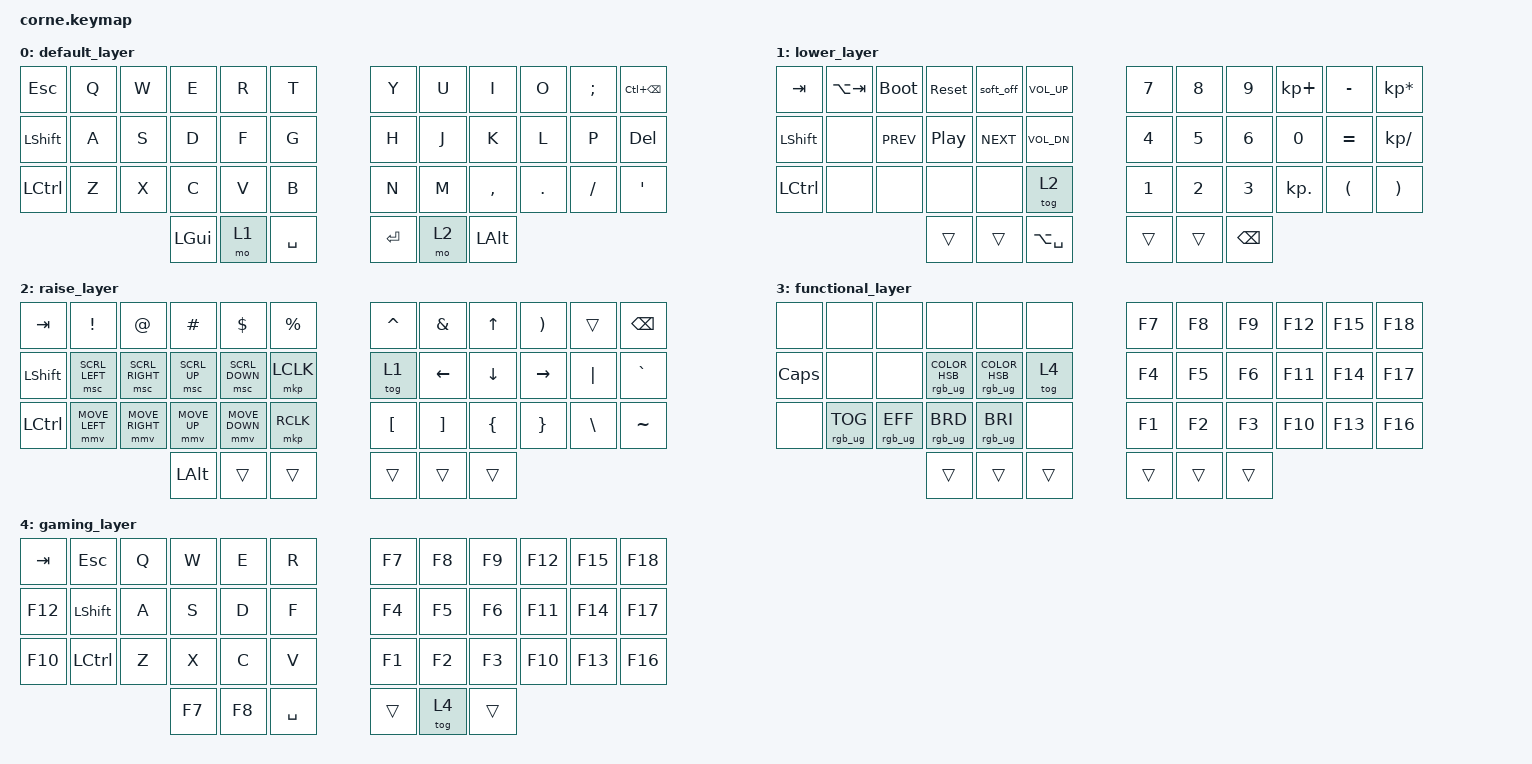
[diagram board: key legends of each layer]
#define ZMK_POINTING_DEFAULT_MOVE_VAL 1800  // default: 600
#define ZMK_POINTING_DEFAULT_SCRL_VAL 30   // default: 10

#include <dt-bindings/zmk/pointing.h>
#include <behaviors.dtsi>
#include <dt-bindings/zmk/keys.h>
#include <dt-bindings/zmk/bt.h>
#include <dt-bindings/zmk/outputs.h>
#include <dt-bindings/zmk/ext_power.h>
#include <dt-bindings/led/led.h>
#include <dt-bindings/zmk/backlight.h>
#include <dt-bindings/zmk/rgb.h>
#include <dt-bindings/zmk/reset.h>



&led_strip {
  //chain-length = <0>;
  chain-length = <27>;
  // 21 backlight + 6 glowlight
};

/ {
    conditional_layers {
        compatible = "zmk,conditional-layers";
        tri_layer {
            if-layers = <1 2>;
            then-layer = <3>;
        };
    };

    keymap {
        compatible = "zmk,keymap";



        default_layer {
            bindings = <
   &kp ESC  &kp Q &kp W &kp E &kp R &kp T   &kp Y            &kp U   &kp I    &kp O    &kp SEMI &kp LC(BSPC)
   &kp LSHFT &kp A &kp S &kp D &kp F &kp G  &kp H                 &kp J   &kp K    &kp L    &kp P      &kp DEL
   &kp LCTRL &kp Z &kp X &kp C &kp V &kp B  &kp N               &kp M   &kp COMMA &kp DOT  &kp FSLH &kp SQT
                   &kp LGUI &mo 1 &kp SPACE                   &kp RET &mo 2 &kp LEFT_ALT

            >;
        };

        lower_layer {
            bindings = <
   &kp TAB &kp LA(TAB) &bootloader &sys_reset &soft_off &kp C_VOL_UP           &kp N7 &kp N8 &kp N9 &kp KP_PLUS &kp MINUS &kp KP_MULTIPLY
   &kp LSHFT &none &kp C_PREV &kp C_PP &kp C_NEXT &kp C_VOL_DN           &kp N4 &kp N5 &kp N6 &kp N0 &kp EQUAL &kp KP_DIVIDE
   &kp LCTRL &none &none &none &none  &tog 2           &kp N1 &kp N2 &kp N3 &kp KP_DOT &kp LPAR &kp RPAR
                      &trans &trans &kp LA(SPACE)                            &trans &trans &kp BSPC

            >;
        };

        raise_layer {
            bindings = < 
   &kp TAB    &kp EXCL        &kp AT          &kp HASH  &kp DLLR               &kp PRCNT                &kp CARET        &kp AMPS          &kp UP    &kp RPAR   &trans   &kp BSPC
   &kp LSHIFT &msc SCRL_LEFT  &msc SCRL_RIGHT    &msc SCRL_UP      &msc SCRL_DOWN   &mkp LCLK                 &tog 1           &kp LEFT          &kp DOWN  &kp RIGHT  &kp PIPE &kp GRAVE
   &kp LCTRL  &mmv MOVE_LEFT  &mmv MOVE_RIGHT    &mmv MOVE_UP      &mmv MOVE_DOWN  &mkp RCLK                &kp LEFT_BRACKET &kp RIGHT_BRACKET &kp LBRC  &kp RBRC   &kp BSLH &kp TILDE
                                              &kp LEFT_ALT    &trans           &trans                   &trans           &trans            &trans
   
            >;
        };
        functional_layer {
            bindings = <
   &none &none &none &none &none &none                                                                                 &kp F7 &kp F8 &kp F9 &kp F12 &kp F15 &kp F18
   &kp CAPS &none &none  &rgb_ug RGB_COLOR_HSB(0,0,100) &rgb_ug RGB_COLOR_HSB(359,100,100) &tog 4                      &kp F4 &kp F5 &kp F6 &kp F11 &kp F14 &kp F17
   &none &rgb_ug RGB_TOG &rgb_ug RGB_EFF &rgb_ug RGB_BRD &rgb_ug RGB_BRI  &none                                        &kp F1 &kp F2 &kp F3 &kp F10 &kp F13 &kp F16
                    &trans &trans &trans                &trans &trans &trans
 
            >;
        };

    gaming_layer {
            bindings = <  
    &kp TAB   &kp ESC    &kp Q  &kp W    &kp E    &kp R                        &kp F7 &kp F8 &kp F9 &kp F12 &kp F15 &kp F18
   &kp F12    &kp LSHFT  &kp A  &kp S    &kp D    &kp F                        &kp F4 &kp F5 &kp F6 &kp F11 &kp F14 &kp F17
   &kp F10    &kp LCTRL  &kp Z  &kp X    &kp C    &kp V                        &kp F1 &kp F2 &kp F3 &kp F10 &kp F13 &kp F16
                                &kp F7   &kp F8   &kp SPACE                    &trans &tog 4 &trans

            >;
        };
    
    };
};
